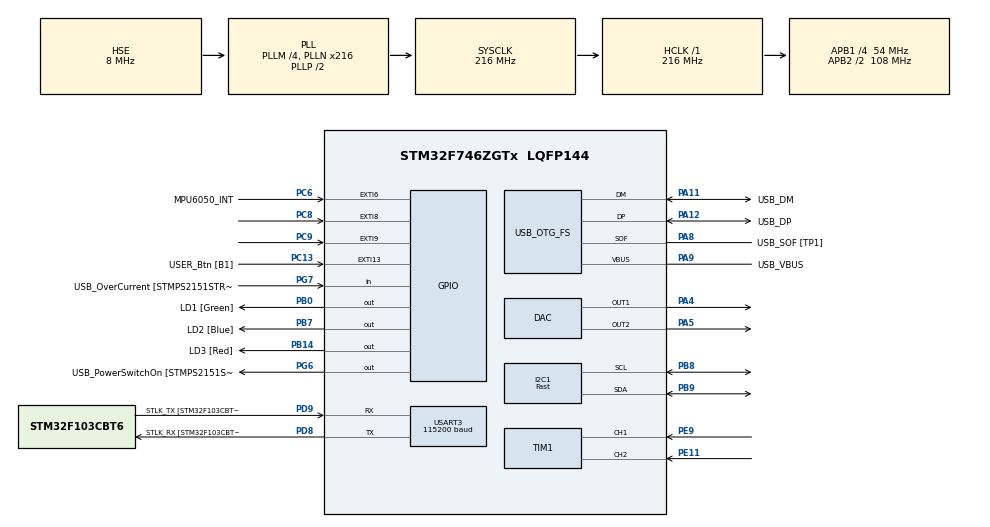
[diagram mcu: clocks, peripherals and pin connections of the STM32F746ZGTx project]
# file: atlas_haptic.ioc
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CORTEX_M7.CPU_ICache=Disabled
I2C1.I2C_Speed_Mode=I2C_Fast
I2C1.Timing=0x6000030D
Mcu.Family=STM32F7
Mcu.Name=STM32F746ZGTx
Mcu.Package=LQFP144
NVIC.EXTI9_5_IRQn=true\:0\:0\:false\:false\:true\:true
NVIC.PriorityGroup=NVIC_PRIORITYGROUP_4
NVIC.TIM6_DAC_IRQn=true\:0\:0\:false\:false\:true\:true
PA1.GPIO_Label=RMII_REF_CLK [LAN8742A-CZ-TR_REFCLK0]
PA1.Signal=ETH_REF_CLK
PA10.GPIO_Label=USB_ID
PA10.Signal=USB_OTG_FS_ID
PA11.GPIO_Label=USB_DM
PA11.Mode=Device_Only
PA11.Signal=USB_OTG_FS_DM
PA12.GPIO_Label=USB_DP
PA12.Mode=Device_Only
PA12.Signal=USB_OTG_FS_DP
PA13.GPIO_Label=TMS
PA13.Mode=Serial_Wire
PA13.Signal=SYS_JTMS-SWDIO
PA14.GPIO_Label=TCK
PA14.Mode=Serial_Wire
PA14.Signal=SYS_JTCK-SWCLK
PA2.GPIO_Label=RMII_MDIO [LAN8742A-CZ-TR_MDIO]
PA2.Signal=ETH_MDIO
PA4.Signal=COMP_DAC1_group
PA5.Signal=COMP_DAC2_group
PA7.GPIO_Label=RMII_CRS_DV [LAN8742A-CZ-TR_CRS_DV]
PA7.Signal=ETH_CRS_DV
PA8.GPIO_Label=USB_SOF [TP1]
PA8.Mode=Activate_SOF_FS
PA8.Signal=USB_OTG_FS_SOF
PA9.GPIO_Label=USB_VBUS
PA9.Mode=Activate_VBUS
PA9.Signal=USB_OTG_FS_VBUS
PB0.GPIO_Label=LD1 [Green]
PB0.GPIO_Speed=GPIO_SPEED_FREQ_LOW
PB0.Signal=GPIO_Output
PB13.GPIO_Label=RMII_TXD1 [LAN8742A-CZ-TR_TXD1]
PB13.Signal=ETH_TXD1
PB14.GPIO_Label=LD3 [Red]
PB14.Signal=GPIO_Output
PB3.GPIO_Label=SW0
PB3.Signal=SYS_JTDO-SWO
PB7.GPIO_Label=LD2 [Blue]
PB7.Signal=GPIO_Output
PB8.Mode=I2C
PB8.Signal=I2C1_SCL
PB9.Mode=I2C
PB9.Signal=I2C1_SDA
PC1.GPIO_Label=RMII_MDC [LAN8742A-CZ-TR_MDC]
PC1.Signal=ETH_MDC
PC13.GPIO_Label=USER_Btn [B1]
PC13.GPIO_ModeDefaultEXTI=GPIO_MODE_IT_FALLING
PC13.Signal=GPXTI13
PC14/OSC32_IN.Mode=LSE-External-Oscillator
PC14/OSC32_IN.Signal=RCC_OSC32_IN
PC15/OSC32_OUT.Mode=LSE-External-Oscillator
PC15/OSC32_OUT.Signal=RCC_OSC32_OUT
PC4.GPIO_Label=RMII_RXD0 [LAN8742A-CZ-TR_RXD0]
PC4.Signal=ETH_RXD0
PC5.GPIO_Label=RMII_RXD1 [LAN8742A-CZ-TR_RXD1]
PC5.Signal=ETH_RXD1
PC6.GPIO_Label=MPU6050_INT
PC6.GPIO_ModeDefaultEXTI=GPIO_MODE_IT_FALLING
PC6.Signal=GPXTI6
PC8.GPIO_ModeDefaultEXTI=GPIO_MODE_IT_FALLING
PC8.Signal=GPXTI8
PC9.GPIO_ModeDefaultEXTI=GPIO_MODE_IT_FALLING
PC9.Signal=GPXTI9
PD8.GPIO_Label=STLK_RX [STM32F103CBT6_PA3]
PD8.Mode=Asynchronous
PD8.Signal=USART3_TX
PD9.GPIO_Label=STLK_TX [STM32F103CBT6_PA2]
PD9.Mode=Asynchronous
PD9.Signal=USART3_RX
PE11.Signal=S_TIM1_CH2
PE9.Signal=S_TIM1_CH1
PG11.GPIO_Label=RMII_TX_EN [LAN8742A-CZ-TR_TXEN]
PG11.Signal=ETH_TX_EN
PG13.GPIO_Label=RMII_TXD0 [LAN8742A-CZ-TR_TXD0]
PG13.Signal=ETH_TXD0
PG6.GPIO_Label=USB_PowerSwitchOn [STMPS2151STR_EN]
PG6.Signal=GPIO_Output
PG7.GPIO_Label=USB_OverCurrent [STMPS2151STR_FAULT]
PG7.Signal=GPIO_Input
PH0/OSC_IN.GPIO_Label=MCO [STM32F103CBT6_PA8]
PH0/OSC_IN.Mode=HSE-External-Clock-Source
PH0/OSC_IN.Signal=RCC_OSC_IN
PH1/OSC_OUT.Mode=HSE-External-Clock-Source
PH1/OSC_OUT.Signal=RCC_OSC_OUT
ProjectManager.HeapSize=0x400
ProjectManager.StackSize=0x800
ProjectManager.TargetToolchain=TrueSTUDIO
RCC.48MHZClocksFreq_Value=24000000
RCC.AHBFreq_Value=216000000
RCC.APB1CLKDivider=RCC_HCLK_DIV4
RCC.APB1Freq_Value=54000000
RCC.APB1TimFreq_Value=108000000
RCC.APB2CLKDivider=RCC_HCLK_DIV2
RCC.APB2Freq_Value=108000000
RCC.APB2TimFreq_Value=216000000
RCC.CortexFreq_Value=216000000
RCC.HCLKFreq_Value=216000000
RCC.HSE_VALUE=8000000
RCC.HSI_VALUE=16000000
RCC.PLLM=4
RCC.PLLMUL=RCC_PLL_MUL9
RCC.PLLN=216
RCC.PLLQ=9
RCC.PRESCALERUSB=RCC_USBCLKSOURCE_PLL_DIV1_5
RCC.SYSCLKFreq_VALUE=216000000
RCC.SYSCLKSource=RCC_SYSCLKSOURCE_PLLCLK
RCC.SYSCLKSourceVirtual=RCC_SYSCLKSOURCE_PLLCLK
RCC.USBFreq_Value=48000000
RCC.VCOOutputFreq_Value=432000000
SH.COMP_DAC1_group.0=DAC_OUT1,DAC_OUT1
SH.COMP_DAC2_group.0=DAC_OUT2,DAC_OUT2
SH.S_TIM1_CH1.0=TIM1_CH1,Encoder_Interface
SH.S_TIM1_CH2.0=TIM1_CH2,Encoder_Interface
TIM1.EncoderMode=TIM_ENCODERMODE_TI12
USART3.BaudRate=115200
USART3.VirtualMode-Asynchronous=VM_ASYNC
USB_OTG_FS.VirtualMode=Device_Only
board=NUCLEO-F746ZG

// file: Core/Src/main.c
/**
  ******************************************************************************
  * @file           : main.c
  * @brief          : Main program body
  ******************************************************************************
  ** This notice applies to any and all portions of this file
  * that are not between comment pairs USER CODE BEGIN and
  * USER CODE END. Other portions of this file, whether
  * inserted by the user or by software development tools
  * are owned by their respective copyright owners.
  *
  * COPYRIGHT(c) 2018 STMicroelectronics
  *
  * Redistribution and use in source and binary forms, with or without modification,
  * are permitted provided that the following conditions are met:
  *   1. Redistributions of source code must retain the above copyright notice,
  *      this list of conditions and the following disclaimer.
  *   2. Redistributions in binary form must reproduce the above copyright notice,
  *      this list of conditions and the following disclaimer in the documentation
  *      and/or other materials provided with the distribution.
  *   3. Neither the name of STMicroelectronics nor the names of its contributors
  *      may be used to endorse or promote products derived from this software
  *      without specific prior written permission.
  *
  * THIS SOFTWARE IS PROVIDED BY THE COPYRIGHT HOLDERS AND CONTRIBUTORS "AS IS"
  * AND ANY EXPRESS OR IMPLIED WARRANTIES, INCLUDING, BUT NOT LIMITED TO, THE
  * IMPLIED WARRANTIES OF MERCHANTABILITY AND FITNESS FOR A PARTICULAR PURPOSE ARE
  * DISCLAIMED. IN NO EVENT SHALL THE COPYRIGHT HOLDER OR CONTRIBUTORS BE LIABLE
  * FOR ANY DIRECT, INDIRECT, INCIDENTAL, SPECIAL, EXEMPLARY, OR CONSEQUENTIAL
  * DAMAGES (INCLUDING, BUT NOT LIMITED TO, PROCUREMENT OF SUBSTITUTE GOODS OR
  * SERVICES; LOSS OF USE, DATA, OR PROFITS; OR BUSINESS INTERRUPTION) HOWEVER
  * CAUSED AND ON ANY THEORY OF LIABILITY, WHETHER IN CONTRACT, STRICT LIABILITY,
  * OR TORT (INCLUDING NEGLIGENCE OR OTHERWISE) ARISING IN ANY WAY OUT OF THE USE
  * OF THIS SOFTWARE, EVEN IF ADVISED OF THE POSSIBILITY OF SUCH DAMAGE.
  *
  ******************************************************************************
  */
#include "main.h"
#include "stm32f7xx_hal.h"

/* USER CODE BEGIN Includes */
#include "mpu6050_registers.h"
#define MPU6050_DEFAULT_ADDRESS MPU6050_ADDRESS_AD0_LOW<<1
/* USER CODE END Includes */

DAC_HandleTypeDef hdac;

I2C_HandleTypeDef hi2c1;

TIM_HandleTypeDef htim1;

UART_HandleTypeDef huart3;

PCD_HandleTypeDef hpcd_USB_OTG_FS;

/* USER CODE BEGIN PV */
/* Private variables ---------------------------------------------------------*/

/* USER CODE END PV */

void SystemClock_Config(void);
static void MX_GPIO_Init(void);
static void MX_USART3_UART_Init(void);
static void MX_USB_OTG_FS_PCD_Init(void);
static void MX_I2C1_Init(void);
static void MX_TIM1_Init(void);
static void MX_DAC_Init(void);

/* USER CODE BEGIN PFP */
/* Private function prototypes -----------------------------------------------*/
#ifdef __GNUC__
/* With GCC/RAISONANCE, small printf (option LD Linker->Libraries->Small printf
 set to 'Yes') calls __io_putchar() */
#define PUTCHAR_PROTOTYPE int __io_putchar(int ch)
#else
#define PUTCHAR_PROTOTYPE int fputc(int ch, FILE *f)
#endif /* __GNUC__ */
/**
 * @brief  Retargets the C library printf function to the USART.
 * @param  None
 * @retval None
 */
PUTCHAR_PROTOTYPE
{
	/* Place your implementation of fputc here */
	/* e.g. write a character to the EVAL_COM1 and Loop until the end of transmission */
	HAL_UART_Transmit(&huart3, (uint8_t *) &ch, 1, 0xFFFF);

	return ch;
}
/* USER CODE END PFP */

/* USER CODE BEGIN 0 */
int MPU6050_INT_State;
uint8_t TxBuffer[8];
uint8_t RxBuffer[8];
uint8_t DataBuffer[20];
uint16_t DataBuffer16[20];
float accel_x, accel_y, accel_z, temp, gyro_x, gyro_y, gyro_z;
void HAL_GPIO_EXTI_Callback(uint16_t GPIO_Pin)
{
	if (GPIO_Pin == GPIO_PIN_6)
		MPU6050_INT_State = 1;
}
void MPU6050_Extract_Readings()
{
// Extract accel readings
	float accel_x_temp = DataBuffer16[0];
	accel_x = (float) accel_x_temp / 2048.0F;
	float accel_y_temp = DataBuffer16[1];
	accel_y = (float) accel_y_temp / 2048.0F;
	float accel_z_temp = DataBuffer16[2];
	accel_z = (float) accel_z_temp / 2048.0F;

// Extract temperature readings
	float temp_raw = DataBuffer16[3];
	temp = temp_raw / 340.0F;

// Extract gyro readings
	float gyro_x_temp = DataBuffer16[4];
	gyro_x = (float) gyro_x_temp / 131.0F;

	float gyro_y_temp = DataBuffer16[5];
	gyro_y = (float) gyro_y_temp / 131.0F;

	float gyro_z_temp = DataBuffer16[6];
	gyro_z = (float) gyro_z_temp / 131.0F;
	/*
	 // Set accel offset
	 accel_x += Accelx_offset;
	 accel_y += Accely_offset;
	 accel_z += Accelz_offset;

	 // Set temp offset
	 temp += Temp_offset;

	 // Set gyro offset
	 gyro_x += Gyrox_offset;
	 gyro_y += Gyroy_offset;
	 gyro_z += Gyroz_offset;*/
}
/* USER CODE END 0 */

int main(void)
{

  /* MCU Configuration----------------------------------------------------------*/

  /* Reset of all peripherals, Initializes the Flash interface and the Systick. */
  HAL_Init();

  /* Configure the system clock */
  SystemClock_Config();

  /* Initialize all configured peripherals */
  MX_GPIO_Init();
  MX_USART3_UART_Init();
  MX_USB_OTG_FS_PCD_Init();
  MX_I2C1_Init();
  MX_TIM1_Init();
  MX_DAC_Init();
  /* USER CODE BEGIN 2 */

	int result;
	TxBuffer[0] = 0x80;
	result = HAL_I2C_Mem_Write(&hi2c1, MPU6050_DEFAULT_ADDRESS, MPU6050_RA_PWR_MGMT_1, 1,
			TxBuffer, 1, 1000);
	HAL_Delay(200);

	TxBuffer[0] = 0x00;
	result = HAL_I2C_Mem_Write(&hi2c1, MPU6050_DEFAULT_ADDRESS, MPU6050_RA_PWR_MGMT_1, 1,
			TxBuffer, 1, 1000);
	HAL_Delay(200);

	TxBuffer[0] = 0xF8;
	result = HAL_I2C_Mem_Write(&hi2c1, MPU6050_DEFAULT_ADDRESS, MPU6050_RA_FIFO_EN, 1,
			TxBuffer, 1, 1000);
	HAL_Delay(200);

	TxBuffer[0] = 0x10;
	result = HAL_I2C_Mem_Write(&hi2c1, MPU6050_DEFAULT_ADDRESS, MPU6050_RA_FIFO_EN, 1,
			TxBuffer, 1, 1000);
	HAL_Delay(200);

	HAL_I2C_Mem_Read(&hi2c1, MPU6050_DEFAULT_ADDRESS, MPU6050_RA_ACCEL_CONFIG,
	I2C_MEMADD_SIZE_8BIT, RxBuffer, 1, 1000);

	HAL_Delay(200);
	RxBuffer[0] |= 0x18;
	result = HAL_I2C_Mem_Write(&hi2c1, MPU6050_DEFAULT_ADDRESS, MPU6050_RA_ACCEL_CONFIG,
			1, RxBuffer, 1, 1000);

	HAL_I2C_Mem_Read(&hi2c1, MPU6050_DEFAULT_ADDRESS, MPU6050_RA_INT_ENABLE,
	I2C_MEMADD_SIZE_8BIT, RxBuffer, 1, 1000);
	HAL_Delay(200);
	RxBuffer[0] |= 0x11;

	result = HAL_I2C_Mem_Write(&hi2c1, MPU6050_DEFAULT_ADDRESS, MPU6050_RA_INT_ENABLE, 1,
			RxBuffer, 1, 1000);

	HAL_I2C_Mem_Read(&hi2c1, MPU6050_DEFAULT_ADDRESS, MPU6050_RA_INT_PIN_CFG,
	I2C_MEMADD_SIZE_8BIT, RxBuffer, 1, 1000);
	HAL_Delay(200);

	RxBuffer[0] |= 0x30;
	result = HAL_I2C_Mem_Write(&hi2c1, MPU6050_DEFAULT_ADDRESS, MPU6050_RA_INT_PIN_CFG,
			1, RxBuffer, 1, 1000);

	HAL_I2C_Mem_Read(&hi2c1, MPU6050_DEFAULT_ADDRESS, MPU6050_RA_CONFIG,
	I2C_MEMADD_SIZE_8BIT, RxBuffer, 1, 1000);
	HAL_Delay(200);
	RxBuffer[0] |= 0x06;
	result = HAL_I2C_Mem_Write(&hi2c1, MPU6050_DEFAULT_ADDRESS, MPU6050_RA_CONFIG, 1,
			RxBuffer, 1, 1000);
  /* USER CODE END 2 */

  /* Infinite loop */
  /* USER CODE BEGIN WHILE */
	while (1)
	{
		//printf("HASS\r\n");
		while (MPU6050_INT_State == 1)
		{
			HAL_GPIO_WritePin(LD1_GPIO_Port, LD1_Pin, GPIO_PIN_SET);
			//MPU6050_I2C_Mem_Read_Multi(MPU6050_DEFAULT_ADDRESS, MPU6050_RA_ACCEL_XOUT_H, DataBuffer, 14);
			HAL_I2C_Mem_Read(&hi2c1, MPU6050_DEFAULT_ADDRESS,
			MPU6050_RA_ACCEL_XOUT_H, I2C_MEMADD_SIZE_8BIT, DataBuffer, 14,
					10000);
			for (int i = 0; i < 7; i++)
			{
				DataBuffer16[i] = (int16_t)(
						((uint16_t) DataBuffer[2 * i] << 8)
								| DataBuffer[2 * i + 1]);
			}
			MPU6050_Extract_Readings();
			MPU6050_INT_State = 0;
			printf("%f %f %f %f %f %f %f\r\n", accel_x, accel_y, accel_z, temp,
					gyro_x, gyro_y, gyro_z);
		}
		HAL_GPIO_WritePin(LD1_GPIO_Port, LD1_Pin, GPIO_PIN_RESET);
  /* USER CODE END WHILE */

  /* USER CODE BEGIN 3 */

		HAL_Delay(10);
	}
  /* USER CODE END 3 */

}

void SystemClock_Config(void)
{

  RCC_OscInitTypeDef RCC_OscInitStruct;
  RCC_ClkInitTypeDef RCC_ClkInitStruct;
  RCC_PeriphCLKInitTypeDef PeriphClkInitStruct;

    /**Configure the main internal regulator output voltage
    */
  __HAL_RCC_PWR_CLK_ENABLE();

  __HAL_PWR_VOLTAGESCALING_CONFIG(PWR_REGULATOR_VOLTAGE_SCALE1);

    /**Initializes the CPU, AHB and APB busses clocks
    */
  RCC_OscInitStruct.OscillatorType = RCC_OSCILLATORTYPE_HSE;
  RCC_OscInitStruct.HSEState = RCC_HSE_BYPASS;
  RCC_OscInitStruct.PLL.PLLState = RCC_PLL_ON;
  RCC_OscInitStruct.PLL.PLLSource = RCC_PLLSOURCE_HSE;
  RCC_OscInitStruct.PLL.PLLM = 4;
  RCC_OscInitStruct.PLL.PLLN = 216;
  RCC_OscInitStruct.PLL.PLLP = RCC_PLLP_DIV2;
  RCC_OscInitStruct.PLL.PLLQ = 9;
  if (HAL_RCC_OscConfig(&RCC_OscInitStruct) != HAL_OK)
  {
    _Error_Handler(__FILE__, __LINE__);
  }

    /**Activate the Over-Drive mode
    */
  if (HAL_PWREx_EnableOverDrive() != HAL_OK)
  {
    _Error_Handler(__FILE__, __LINE__);
  }

    /**Initializes the CPU, AHB and APB busses clocks
    */
  RCC_ClkInitStruct.ClockType = RCC_CLOCKTYPE_HCLK|RCC_CLOCKTYPE_SYSCLK
                              |RCC_CLOCKTYPE_PCLK1|RCC_CLOCKTYPE_PCLK2;
  RCC_ClkInitStruct.SYSCLKSource = RCC_SYSCLKSOURCE_PLLCLK;
  RCC_ClkInitStruct.AHBCLKDivider = RCC_SYSCLK_DIV1;
  RCC_ClkInitStruct.APB1CLKDivider = RCC_HCLK_DIV4;
  RCC_ClkInitStruct.APB2CLKDivider = RCC_HCLK_DIV2;

  if (HAL_RCC_ClockConfig(&RCC_ClkInitStruct, FLASH_LATENCY_7) != HAL_OK)
  {
    _Error_Handler(__FILE__, __LINE__);
  }

  PeriphClkInitStruct.PeriphClockSelection = RCC_PERIPHCLK_USART3|RCC_PERIPHCLK_I2C1
                              |RCC_PERIPHCLK_CLK48;
  PeriphClkInitStruct.Usart3ClockSelection = RCC_USART3CLKSOURCE_PCLK1;
  PeriphClkInitStruct.I2c1ClockSelection = RCC_I2C1CLKSOURCE_PCLK1;
  PeriphClkInitStruct.Clk48ClockSelection = RCC_CLK48SOURCE_PLL;
  if (HAL_RCCEx_PeriphCLKConfig(&PeriphClkInitStruct) != HAL_OK)
  {
    _Error_Handler(__FILE__, __LINE__);
  }

    /**Configure the Systick interrupt time
    */
  HAL_SYSTICK_Config(HAL_RCC_GetHCLKFreq()/1000);

    /**Configure the Systick
    */
  HAL_SYSTICK_CLKSourceConfig(SYSTICK_CLKSOURCE_HCLK);

  /* SysTick_IRQn interrupt configuration */
  HAL_NVIC_SetPriority(SysTick_IRQn, 0, 0);
}

/* DAC init function */
static void MX_DAC_Init(void)
{

  DAC_ChannelConfTypeDef sConfig;

    /**DAC Initialization
    */
  hdac.Instance = DAC;
  if (HAL_DAC_Init(&hdac) != HAL_OK)
  {
    _Error_Handler(__FILE__, __LINE__);
  }

    /**DAC channel OUT1 config
    */
  sConfig.DAC_Trigger = DAC_TRIGGER_NONE;
  sConfig.DAC_OutputBuffer = DAC_OUTPUTBUFFER_ENABLE;
  if (HAL_DAC_ConfigChannel(&hdac, &sConfig, DAC_CHANNEL_1) != HAL_OK)
  {
    _Error_Handler(__FILE__, __LINE__);
  }

    /**DAC channel OUT2 config
    */
  if (HAL_DAC_ConfigChannel(&hdac, &sConfig, DAC_CHANNEL_2) != HAL_OK)
  {
    _Error_Handler(__FILE__, __LINE__);
  }

}

/* I2C1 init function */
static void MX_I2C1_Init(void)
{

  hi2c1.Instance = I2C1;
  hi2c1.Init.Timing = 0x6000030D;
  hi2c1.Init.OwnAddress1 = 0;
  hi2c1.Init.AddressingMode = I2C_ADDRESSINGMODE_7BIT;
  hi2c1.Init.DualAddressMode = I2C_DUALADDRESS_DISABLE;
  hi2c1.Init.OwnAddress2 = 0;
  hi2c1.Init.OwnAddress2Masks = I2C_OA2_NOMASK;
  hi2c1.Init.GeneralCallMode = I2C_GENERALCALL_DISABLE;
  hi2c1.Init.NoStretchMode = I2C_NOSTRETCH_DISABLE;
  if (HAL_I2C_Init(&hi2c1) != HAL_OK)
  {
    _Error_Handler(__FILE__, __LINE__);
  }

    /**Configure Analogue filter
    */
  if (HAL_I2CEx_ConfigAnalogFilter(&hi2c1, I2C_ANALOGFILTER_ENABLE) != HAL_OK)
  {
    _Error_Handler(__FILE__, __LINE__);
  }

    /**Configure Digital filter
    */
  if (HAL_I2CEx_ConfigDigitalFilter(&hi2c1, 0) != HAL_OK)
  {
    _Error_Handler(__FILE__, __LINE__);
  }

}

/* TIM1 init function */
static void MX_TIM1_Init(void)
{

  TIM_Encoder_InitTypeDef sConfig;
  TIM_MasterConfigTypeDef sMasterConfig;

  htim1.Instance = TIM1;
  htim1.Init.Prescaler = 0;
  htim1.Init.CounterMode = TIM_COUNTERMODE_UP;
  htim1.Init.Period = 0;
  htim1.Init.ClockDivision = TIM_CLOCKDIVISION_DIV1;
  htim1.Init.RepetitionCounter = 0;
  htim1.Init.AutoReloadPreload = TIM_AUTORELOAD_PRELOAD_DISABLE;
  sConfig.EncoderMode = TIM_ENCODERMODE_TI12;
  sConfig.IC1Polarity = TIM_ICPOLARITY_RISING;
  sConfig.IC1Selection = TIM_ICSELECTION_DIRECTTI;
  sConfig.IC1Prescaler = TIM_ICPSC_DIV1;
  sConfig.IC1Filter = 0;
  sConfig.IC2Polarity = TIM_ICPOLARITY_RISING;
  sConfig.IC2Selection = TIM_ICSELECTION_DIRECTTI;
  sConfig.IC2Prescaler = TIM_ICPSC_DIV1;
  sConfig.IC2Filter = 0;
  if (HAL_TIM_Encoder_Init(&htim1, &sConfig) != HAL_OK)
  {
    _Error_Handler(__FILE__, __LINE__);
  }

  sMasterConfig.MasterOutputTrigger = TIM_TRGO_RESET;
  sMasterConfig.MasterOutputTrigger2 = TIM_TRGO2_RESET;
  sMasterConfig.MasterSlaveMode = TIM_MASTERSLAVEMODE_DISABLE;
  if (HAL_TIMEx_MasterConfigSynchronization(&htim1, &sMasterConfig) != HAL_OK)
  {
    _Error_Handler(__FILE__, __LINE__);
  }

}

/* USART3 init function */
static void MX_USART3_UART_Init(void)
{

  huart3.Instance = USART3;
  huart3.Init.BaudRate = 115200;
  huart3.Init.WordLength = UART_WORDLENGTH_8B;
  huart3.Init.StopBits = UART_STOPBITS_1;
  huart3.Init.Parity = UART_PARITY_NONE;
  huart3.Init.Mode = UART_MODE_TX_RX;
  huart3.Init.HwFlowCtl = UART_HWCONTROL_NONE;
  huart3.Init.OverSampling = UART_OVERSAMPLING_16;
  huart3.Init.OneBitSampling = UART_ONE_BIT_SAMPLE_DISABLE;
  huart3.AdvancedInit.AdvFeatureInit = UART_ADVFEATURE_NO_INIT;
  if (HAL_UART_Init(&huart3) != HAL_OK)
  {
    _Error_Handler(__FILE__, __LINE__);
  }

}

/* USB_OTG_FS init function */
static void MX_USB_OTG_FS_PCD_Init(void)
{

  hpcd_USB_OTG_FS.Instance = USB_OTG_FS;
  hpcd_USB_OTG_FS.Init.dev_endpoints = 6;
  hpcd_USB_OTG_FS.Init.speed = PCD_SPEED_FULL;
  hpcd_USB_OTG_FS.Init.dma_enable = DISABLE;
  hpcd_USB_OTG_FS.Init.ep0_mps = DEP0CTL_MPS_64;
  hpcd_USB_OTG_FS.Init.phy_itface = PCD_PHY_EMBEDDED;
  hpcd_USB_OTG_FS.Init.Sof_enable = ENABLE;
  hpcd_USB_OTG_FS.Init.low_power_enable = DISABLE;
  hpcd_USB_OTG_FS.Init.lpm_enable = DISABLE;
  hpcd_USB_OTG_FS.Init.vbus_sensing_enable = ENABLE;
  hpcd_USB_OTG_FS.Init.use_dedicated_ep1 = DISABLE;
  if (HAL_PCD_Init(&hpcd_USB_OTG_FS) != HAL_OK)
  {
    _Error_Handler(__FILE__, __LINE__);
  }

}

/** Configure pins as
        * Analog
        * Input
        * Output
        * EVENT_OUT
        * EXTI
     PC1   ------> ETH_MDC
     PA1   ------> ETH_REF_CLK
     PA2   ------> ETH_MDIO
     PA7   ------> ETH_CRS_DV
     PC4   ------> ETH_RXD0
     PC5   ------> ETH_RXD1
     PB13   ------> ETH_TXD1
     PG11   ------> ETH_TX_EN
     PG13   ------> ETH_TXD0
*/
static void MX_GPIO_Init(void)
{

  GPIO_InitTypeDef GPIO_InitStruct;

  /* GPIO Ports Clock Enable */
  __HAL_RCC_GPIOC_CLK_ENABLE();
  __HAL_RCC_GPIOH_CLK_ENABLE();
  __HAL_RCC_GPIOA_CLK_ENABLE();
  __HAL_RCC_GPIOB_CLK_ENABLE();
  __HAL_RCC_GPIOE_CLK_ENABLE();
  __HAL_RCC_GPIOD_CLK_ENABLE();
  __HAL_RCC_GPIOG_CLK_ENABLE();

  /*Configure GPIO pin Output Level */
  HAL_GPIO_WritePin(GPIOB, LD1_Pin|LD3_Pin|LD2_Pin, GPIO_PIN_RESET);

  /*Configure GPIO pin Output Level */
  HAL_GPIO_WritePin(USB_PowerSwitchOn_GPIO_Port, USB_PowerSwitchOn_Pin, GPIO_PIN_RESET);

  /*Configure GPIO pins : USER_Btn_Pin MPU6050_INT_Pin PC8 PC9 */
  GPIO_InitStruct.Pin = USER_Btn_Pin|MPU6050_INT_Pin|GPIO_PIN_8|GPIO_PIN_9;
  GPIO_InitStruct.Mode = GPIO_MODE_IT_FALLING;
  GPIO_InitStruct.Pull = GPIO_NOPULL;
  HAL_GPIO_Init(GPIOC, &GPIO_InitStruct);

  /*Configure GPIO pins : RMII_MDC_Pin RMII_RXD0_Pin RMII_RXD1_Pin */
  GPIO_InitStruct.Pin = RMII_MDC_Pin|RMII_RXD0_Pin|RMII_RXD1_Pin;
  GPIO_InitStruct.Mode = GPIO_MODE_AF_PP;
  GPIO_InitStruct.Pull = GPIO_NOPULL;
  GPIO_InitStruct.Speed = GPIO_SPEED_FREQ_VERY_HIGH;
  GPIO_InitStruct.Alternate = GPIO_AF11_ETH;
  HAL_GPIO_Init(GPIOC, &GPIO_InitStruct);

  /*Configure GPIO pins : RMII_REF_CLK_Pin RMII_MDIO_Pin RMII_CRS_DV_Pin */
  GPIO_InitStruct.Pin = RMII_REF_CLK_Pin|RMII_MDIO_Pin|RMII_CRS_DV_Pin;
  GPIO_InitStruct.Mode = GPIO_MODE_AF_PP;
  GPIO_InitStruct.Pull = GPIO_NOPULL;
  GPIO_InitStruct.Speed = GPIO_SPEED_FREQ_VERY_HIGH;
  GPIO_InitStruct.Alternate = GPIO_AF11_ETH;
  HAL_GPIO_Init(GPIOA, &GPIO_InitStruct);

  /*Configure GPIO pins : LD1_Pin LD3_Pin LD2_Pin */
  GPIO_InitStruct.Pin = LD1_Pin|LD3_Pin|LD2_Pin;
  GPIO_InitStruct.Mode = GPIO_MODE_OUTPUT_PP;
  GPIO_InitStruct.Pull = GPIO_NOPULL;
  GPIO_InitStruct.Speed = GPIO_SPEED_FREQ_LOW;
  HAL_GPIO_Init(GPIOB, &GPIO_InitStruct);

  /*Configure GPIO pin : RMII_TXD1_Pin */
  GPIO_InitStruct.Pin = RMII_TXD1_Pin;
  GPIO_InitStruct.Mode = GPIO_MODE_AF_PP;
  GPIO_InitStruct.Pull = GPIO_NOPULL;
  GPIO_InitStruct.Speed = GPIO_SPEED_FREQ_VERY_HIGH;
  GPIO_InitStruct.Alternate = GPIO_AF11_ETH;
  HAL_GPIO_Init(RMII_TXD1_GPIO_Port, &GPIO_InitStruct);

  /*Configure GPIO pin : USB_PowerSwitchOn_Pin */
  GPIO_InitStruct.Pin = USB_PowerSwitchOn_Pin;
  GPIO_InitStruct.Mode = GPIO_MODE_OUTPUT_PP;
  GPIO_InitStruct.Pull = GPIO_NOPULL;
  GPIO_InitStruct.Speed = GPIO_SPEED_FREQ_LOW;
  HAL_GPIO_Init(USB_PowerSwitchOn_GPIO_Port, &GPIO_InitStruct);

  /*Configure GPIO pin : USB_OverCurrent_Pin */
  GPIO_InitStruct.Pin = USB_OverCurrent_Pin;
  GPIO_InitStruct.Mode = GPIO_MODE_INPUT;
  GPIO_InitStruct.Pull = GPIO_NOPULL;
  HAL_GPIO_Init(USB_OverCurrent_GPIO_Port, &GPIO_InitStruct);

  /*Configure GPIO pins : RMII_TX_EN_Pin RMII_TXD0_Pin */
  GPIO_InitStruct.Pin = RMII_TX_EN_Pin|RMII_TXD0_Pin;
  GPIO_InitStruct.Mode = GPIO_MODE_AF_PP;
  GPIO_InitStruct.Pull = GPIO_NOPULL;
  GPIO_InitStruct.Speed = GPIO_SPEED_FREQ_VERY_HIGH;
  GPIO_InitStruct.Alternate = GPIO_AF11_ETH;
  HAL_GPIO_Init(GPIOG, &GPIO_InitStruct);

  /* EXTI interrupt init*/
  HAL_NVIC_SetPriority(EXTI9_5_IRQn, 0, 0);
  HAL_NVIC_EnableIRQ(EXTI9_5_IRQn);

}

void _Error_Handler(char *file, int line)
{
  /* USER CODE BEGIN Error_Handler_Debug */
	/* User can add his own implementation to report the HAL error return state */
	while (1)
	{
		HAL_GPIO_TogglePin(LD3_GPIO_Port, LD3_Pin);
		HAL_Delay(250);
	}
  /* USER CODE END Error_Handler_Debug */
}

/************************ (C) COPYRIGHT STMicroelectronics *****END OF FILE****/
